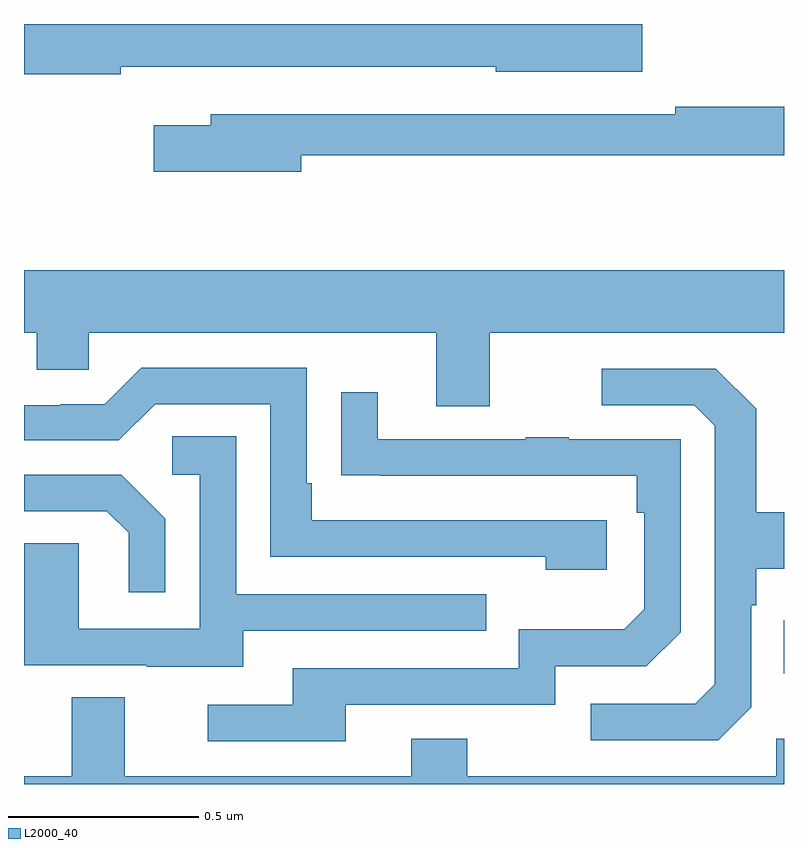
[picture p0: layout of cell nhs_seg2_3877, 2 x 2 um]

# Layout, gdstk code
import gdstk
lib = gdstk.Library(unit=1e-6, precision=1e-09)
def R(c, l, rs):  # rectangles x0, y0, x1, y1
    for r in rs: c.add(gdstk.rectangle(r[:2], r[2:], *l))
def P(c, l, *ps):  # polygons
    for p in ps: c.add(gdstk.Polygon(p, *l))
L2000_40 = (2000, 40)

nhs_seg2_3877 = lib.new_cell('nhs_seg2_3877')
R(nhs_seg2_3877, L2000_40, [(160.999,628.091,161,628.231)])
P(nhs_seg2_3877, L2000_40, [(159.254,629.688),(160.242,629.688),(160.242,629.675),(160.627,629.675),(160.627,629.8),(159,629.8),(159,629.668),(159.254,629.668)],
  [(159.73,629.454),(161,629.454),(161,629.582),(160.714,629.582),(160.714,629.562),(159.491,629.562),(159.491,629.533),(159.342,629.533),(159.342,629.411),(159.73,629.411)],
  [(160.225,628.988),(161,628.988),(161,629.152),(159,629.152),(159,628.988),(159.033,628.988),(159.033,628.89),(159.171,628.89),(159.171,628.988),(160.085,628.988),(160.085,628.794),(160.225,628.794)],
  [(160.534,628.494),(159.757,628.494),(159.757,628.591),(159.744,628.591),(159.744,628.896),(159.309,628.896),(159.213,628.8),(159.095,628.8),(159.095,628.797),(159,628.797),(159,628.704),(159.249,628.704),(159.345,628.8),(159.648,628.8),(159.648,628.398),(160.373,628.398),(160.373,628.364),(160.534,628.364)],
  [(160.914,628.002),(160.914,628.271),(160.927,628.271),(160.927,628.367),(161,628.367),(161,628.515),(160.927,628.515),(160.927,628.787),(160.821,628.893),(160.521,628.893),(160.521,628.797),(160.764,628.797),(160.818,628.743),(160.818,628.062),(160.767,628.011),(160.491,628.011),(160.491,627.915),(160.827,627.915)],
  [(159.847,628.008),(160.398,628.008),(160.398,628.11),(160.638,628.11),(160.728,628.2),(160.728,628.707),(160.433,628.707),(160.433,628.712),(160.321,628.712),(160.321,628.707),(159.931,628.707),(159.931,628.831),(159.835,628.831),(159.835,628.612),(159.937,628.612),(159.937,628.611),(160.612,628.611),(160.612,628.514),(160.632,628.514),(160.632,628.26),(160.579,628.207),(160.302,628.207),(160.302,628.104),(159.707,628.104),(159.707,628.008),(159.483,628.008),(159.483,627.912),(159.847,627.912)],
  [(159.577,628.203),(160.217,628.203),(160.217,628.299),(159.558,628.299),(159.558,628.715),(159.39,628.715),(159.39,628.614),(159.462,628.614),(159.462,628.209),(159.144,628.209),(159.144,628.433),(159,628.433),(159,628.113),(159.323,628.113),(159.323,628.109),(159.577,628.109)],
  [(159.372,628.498),(159.256,628.614),(159,628.614),(159,628.518),(159.218,628.518),(159.275,628.461),(159.275,628.305),(159.372,628.305)],
  [(161,627.919),(160.98,627.919),(160.98,627.82),(160.167,627.82),(160.167,627.919),(160.019,627.919),(160.019,627.82),(159.265,627.82),(159.265,628.028),(159.125,628.028),(159.125,627.82),(159,627.82),(159,627.8),(161,627.8)])

lib.write_gds('nhs_seg2_3877.gds')
